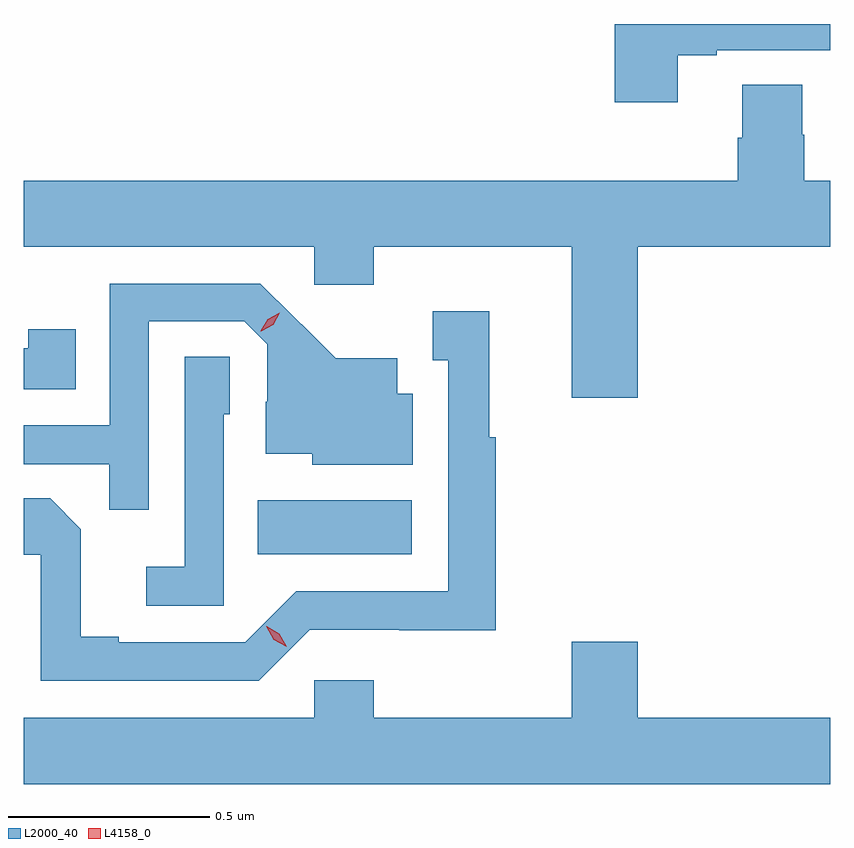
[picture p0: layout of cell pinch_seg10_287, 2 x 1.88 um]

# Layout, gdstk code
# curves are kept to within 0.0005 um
import gdstk
lib = gdstk.Library(unit=1e-6, precision=1e-09)
def R(c, l, rs):  # rectangles x0, y0, x1, y1
    for r in rs: c.add(gdstk.rectangle(r[:2], r[2:], *l))
def P(c, l, *ps):  # polygons
    for p in ps: c.add(gdstk.Polygon(p, *l))
L2000_40 = (2000, 40)
L4158_0 = (4158, 0)

pinch_seg10_287 = lib.new_cell('pinch_seg10_287')
R(pinch_seg10_287, L2000_40, [(511.882,1294.226,512.263,1294.36)])
P(pinch_seg10_287, L2000_40, [(512.923,1295.463),(513.019,1295.463),(513.019,1295.475),(513.301,1295.475),(513.301,1295.54),(512.767,1295.54),(512.767,1295.346),(512.923,1295.346)],
  [(512.824,1294.988),(513.301,1294.988),(513.301,1295.152),(513.236,1295.152),(513.236,1295.265),(513.231,1295.265),(513.231,1295.39),(513.083,1295.39),(513.083,1295.258),(513.071,1295.258),(513.071,1295.152),(511.301,1295.152),(511.301,1294.988),(512.022,1294.988),(512.022,1294.893),(512.169,1294.893),(512.169,1294.988),(512.66,1294.988),(512.66,1294.614),(512.824,1294.614)],
  [(511.611,1294.803),(511.848,1294.803),(511.905,1294.746),(511.905,1294.604),(511.901,1294.604),(511.901,1294.475),(512.016,1294.475),(512.016,1294.448),(512.266,1294.448),(512.266,1294.624),(512.227,1294.624),(512.227,1294.711),(512.075,1294.711),(512.005,1294.781),(511.888,1294.896),(511.515,1294.896),(511.515,1294.545),(511.301,1294.545),(511.301,1294.449),(511.513,1294.449),(511.513,1294.336),(511.611,1294.336)],
  [(512.01,1294.038),(512.232,1294.038),(512.232,1294.037),(512.472,1294.037),(512.472,1294.515),(512.455,1294.515),(512.455,1294.828),(512.315,1294.828),(512.315,1294.707),(512.354,1294.707),(512.354,1294.134),(511.977,1294.134),(511.851,1294.008),(511.537,1294.008),(511.537,1294.021),(511.443,1294.021),(511.443,1294.288),(511.367,1294.364),(511.301,1294.364),(511.301,1294.224),(511.344,1294.224),(511.344,1293.912),(511.884,1293.912)],
  [(511.43,1294.783),(511.312,1294.783),(511.312,1294.736),(511.301,1294.736),(511.301,1294.635),(511.43,1294.635)],
  [(511.797,1294.572),(511.812,1294.572),(511.812,1294.715),(511.701,1294.715),(511.701,1294.195),(511.605,1294.195),(511.605,1294.098),(511.797,1294.098)],
  [(513.301,1293.82),(512.824,1293.82),(512.824,1294.009),(512.66,1294.009),(512.66,1293.82),(512.169,1293.82),(512.169,1293.913),(512.022,1293.913),(512.022,1293.82),(511.301,1293.82),(511.301,1293.656),(513.301,1293.656)])
P(pinch_seg10_287, L4158_0, [(511.953,1293.996),(511.921,1294.014),(511.903,1294.047),(511.903,1294.047),(511.904,1294.047),(511.935,1294.028),(511.953,1293.996),(511.953,1293.996)],
  [(511.889,1294.778),(511.889,1294.779),(511.906,1294.808),(511.936,1294.824),(511.936,1294.824),(511.936,1294.824),(511.92,1294.794),(511.89,1294.778)])

lib.write_gds('pinch_seg10_287.gds')
